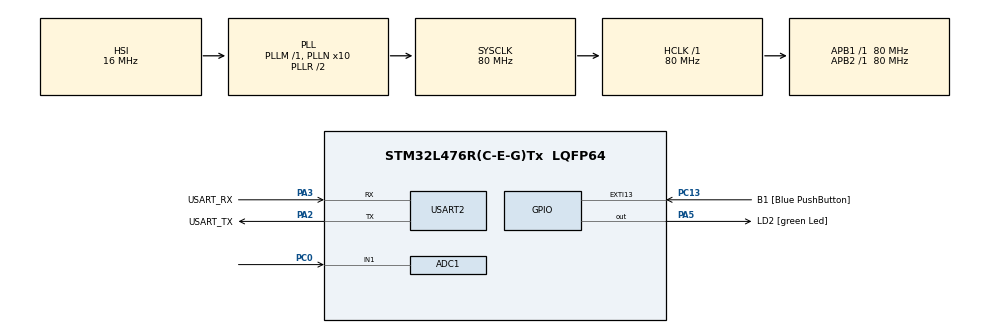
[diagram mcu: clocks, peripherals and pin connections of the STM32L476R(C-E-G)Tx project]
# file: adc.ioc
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ADC1.Channel-0\#ChannelRegularConversion=ADC_CHANNEL_1
ADC1.ClockPrescaler=ADC_CLOCK_SYNC_PCLK_DIV4
ADC1.ContinuousConvMode=ENABLE
ADC1.DMAContinuousRequests=ENABLE
ADC1.DataAlign=ADC_DATAALIGN_RIGHT
ADC1.DiscontinuousConvMode=DISABLE
ADC1.EOCSelection=ADC_EOC_SINGLE_CONV
ADC1.EnableAnalogWatchDog1=false
ADC1.EnableAnalogWatchDog2=false
ADC1.EnableAnalogWatchDog3=false
ADC1.EnableInjectedConversion=DISABLE
ADC1.EnableRegularConversion=ENABLE
ADC1.ExternalTrigConv=ADC_SOFTWARE_START
ADC1.ExternalTrigConvEdge=ADC_EXTERNALTRIGCONVEDGE_NONE
ADC1.LowPowerAutoWait=DISABLE
ADC1.NbrOfConversion=1
ADC1.NbrOfConversionFlag=1
ADC1.OffsetNumber-0\#ChannelRegularConversion=ADC_OFFSET_NONE
ADC1.Overrun=ADC_OVR_DATA_OVERWRITTEN
ADC1.OversamplingMode=DISABLE
ADC1.Rank-0\#ChannelRegularConversion=1
ADC1.Resolution=ADC_RESOLUTION_12B
ADC1.SamplingTime-0\#ChannelRegularConversion=ADC_SAMPLETIME_247CYCLES_5
ADC1.ScanConvMode=ADC_SCAN_DISABLE
ADC1.master=1
Dma.ADC1.0.Direction=DMA_PERIPH_TO_MEMORY
Dma.ADC1.0.Instance=DMA1_Channel1
Dma.ADC1.0.MemDataAlignment=DMA_MDATAALIGN_HALFWORD
Dma.ADC1.0.MemInc=DMA_MINC_ENABLE
Dma.ADC1.0.Mode=DMA_CIRCULAR
Dma.ADC1.0.PeriphDataAlignment=DMA_PDATAALIGN_HALFWORD
Dma.ADC1.0.PeriphInc=DMA_PINC_DISABLE
Dma.ADC1.0.Priority=DMA_PRIORITY_HIGH
Dma.Request0=ADC1
Mcu.Family=STM32L4
Mcu.Name=STM32L476R(C-E-G)Tx
Mcu.Package=LQFP64
NVIC.DMA1_Channel1_IRQn=true\:0\:0\:false\:false\:true\:false
NVIC.PriorityGroup=NVIC_PRIORITYGROUP_4
PA13\ (JTMS-SWDIO).GPIO_Label=TMS
PA13\ (JTMS-SWDIO).Mode=Serial_Wire
PA13\ (JTMS-SWDIO).Signal=SYS_JTMS-SWDIO
PA14\ (JTCK-SWCLK).GPIO_Label=TCK
PA14\ (JTCK-SWCLK).Mode=Serial_Wire
PA14\ (JTCK-SWCLK).Signal=SYS_JTCK-SWCLK
PA2.GPIO_Label=USART_TX
PA2.GPIO_Mode=GPIO_MODE_AF_PP
PA2.GPIO_PuPd=GPIO_NOPULL
PA2.GPIO_Speed=GPIO_SPEED_FREQ_VERY_HIGH
PA2.Mode=Asynchronous
PA2.Signal=USART2_TX
PA3.GPIO_Label=USART_RX
PA3.GPIO_Mode=GPIO_MODE_AF_PP
PA3.GPIO_PuPd=GPIO_NOPULL
PA3.GPIO_Speed=GPIO_SPEED_FREQ_VERY_HIGH
PA3.Mode=Asynchronous
PA3.Signal=USART2_RX
PA5.GPIO_Label=LD2 [green Led]
PA5.GPIO_ModeDefaultOutputPP=GPIO_MODE_OUTPUT_PP
PA5.GPIO_PuPd=GPIO_NOPULL
PA5.GPIO_Speed=GPIO_SPEED_FREQ_LOW
PA5.Signal=GPIO_Output
PB3\ (JTDO-TRACESWO).GPIO_Label=SWO
PB3\ (JTDO-TRACESWO).Signal=SYS_JTDO-SWO
PC0.GPIO_PuPd=GPIO_NOPULL
PC0.Signal=ADCx_IN1
PC13.GPIO_Label=B1 [Blue PushButton]
PC13.GPIO_ModeDefaultEXTI=GPIO_MODE_IT_FALLING
PC13.GPIO_PuPd=GPIO_NOPULL
PC13.Signal=GPXTI13
PC14-OSC32_IN\ (PC14).Mode=LSE-External-Oscillator
PC14-OSC32_IN\ (PC14).Signal=RCC_OSC32_IN
PC15-OSC32_OUT\ (PC15).Mode=LSE-External-Oscillator
PC15-OSC32_OUT\ (PC15).Signal=RCC_OSC32_OUT
PH0-OSC_IN\ (PH0).Signal=RCC_OSC_IN
PH1-OSC_OUT\ (PH1).Signal=RCC_OSC_OUT
ProjectManager.HeapSize=0x200
ProjectManager.StackSize=0x400
ProjectManager.TargetToolchain=TrueSTUDIO
RCC.ADCFreq_Value=64000000
RCC.AHBFreq_Value=80000000
RCC.APB1Freq_Value=80000000
RCC.APB1TimFreq_Value=80000000
RCC.APB2Freq_Value=80000000
RCC.APB2TimFreq_Value=80000000
RCC.CortexFreq_Value=80000000
RCC.HCLKFreq_Value=80000000
RCC.HSE_VALUE=8000000
RCC.HSI_VALUE=16000000
RCC.MSI_VALUE=4000000
RCC.PLLN=10
RCC.PLLSourceVirtual=RCC_PLLSOURCE_HSI
RCC.PREFETCH_ENABLE=1
RCC.SYSCLKFreq_VALUE=80000000
RCC.SYSCLKSource=RCC_SYSCLKSOURCE_PLLCLK
RCC.USBFreq_Value=64000000
RCC.VCOOutputFreq_Value=160000000
SH.ADCx_IN1.0=ADC1_IN1,IN1-Single-Ended
USART2.VirtualMode-Asynchronous=VM_ASYNC
board=NUCLEO-L476RG

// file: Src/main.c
/**
  ******************************************************************************
  * @file           : main.c
  * @brief          : Main program body
  ******************************************************************************
  ** This notice applies to any and all portions of this file
  * that are not between comment pairs USER CODE BEGIN and
  * USER CODE END. Other portions of this file, whether
  * inserted by the user or by software development tools
  * are owned by their respective copyright owners.
  *
  * COPYRIGHT(c) 2018 STMicroelectronics
  *
  * Redistribution and use in source and binary forms, with or without modification,
  * are permitted provided that the following conditions are met:
  *   1. Redistributions of source code must retain the above copyright notice,
  *      this list of conditions and the following disclaimer.
  *   2. Redistributions in binary form must reproduce the above copyright notice,
  *      this list of conditions and the following disclaimer in the documentation
  *      and/or other materials provided with the distribution.
  *   3. Neither the name of STMicroelectronics nor the names of its contributors
  *      may be used to endorse or promote products derived from this software
  *      without specific prior written permission.
  *
  * THIS SOFTWARE IS PROVIDED BY THE COPYRIGHT HOLDERS AND CONTRIBUTORS "AS IS"
  * AND ANY EXPRESS OR IMPLIED WARRANTIES, INCLUDING, BUT NOT LIMITED TO, THE
  * IMPLIED WARRANTIES OF MERCHANTABILITY AND FITNESS FOR A PARTICULAR PURPOSE ARE
  * DISCLAIMED. IN NO EVENT SHALL THE COPYRIGHT HOLDER OR CONTRIBUTORS BE LIABLE
  * FOR ANY DIRECT, INDIRECT, INCIDENTAL, SPECIAL, EXEMPLARY, OR CONSEQUENTIAL
  * DAMAGES (INCLUDING, BUT NOT LIMITED TO, PROCUREMENT OF SUBSTITUTE GOODS OR
  * SERVICES; LOSS OF USE, DATA, OR PROFITS; OR BUSINESS INTERRUPTION) HOWEVER
  * CAUSED AND ON ANY THEORY OF LIABILITY, WHETHER IN CONTRACT, STRICT LIABILITY,
  * OR TORT (INCLUDING NEGLIGENCE OR OTHERWISE) ARISING IN ANY WAY OUT OF THE USE
  * OF THIS SOFTWARE, EVEN IF ADVISED OF THE POSSIBILITY OF SUCH DAMAGE.
  *
  ******************************************************************************
  */
#include "main.h"
#include "stm32l4xx_hal.h"
#include "adc.h"
#include "dma.h"
#include "usart.h"
#include "gpio.h"

/* USER CODE BEGIN Includes */
#include "stdio.h"
#include "stdbool.h"
/* USER CODE END Includes */

/* USER CODE BEGIN PV */
/* Private variables ---------------------------------------------------------*/
volatile uint16_t buf[1024] = {0};
volatile bool adc_cplt = false;
/* USER CODE END PV */

void SystemClock_Config(void);

/* USER CODE BEGIN PFP */
/* Private function prototypes -----------------------------------------------*/

/* USER CODE END PFP */

int main(void)
{

  /* MCU Configuration----------------------------------------------------------*/

  /* Reset of all peripherals, Initializes the Flash interface and the Systick. */
  HAL_Init();

  /* Configure the system clock */
  SystemClock_Config();

  /* Initialize all configured peripherals */
  MX_GPIO_Init();
  MX_DMA_Init();
  MX_USART2_UART_Init();
  MX_ADC1_Init();
  /* USER CODE BEGIN 2 */

  if (HAL_ADC_Start_DMA(&hadc1, (uint32_t *)buf, 1024) != HAL_OK) {
    Error_Handler();
  }

  /* USER CODE END 2 */

  /* Infinite loop */
  /* USER CODE BEGIN WHILE */
  while (1)
  {
    /* In case of polling mode
    if (HAL_ADC_PollForConversion(&hadc1, 10) == HAL_OK) {
      uint32_t v = HAL_ADC_GetValue(&hadc1);
      printf("%lu\n", v);
    }
    */
    if (adc_cplt) {
      printf("-\n");
      printf("%u @ %lu\n", buf[0], HAL_GetTick());
      adc_cplt = false;
    }

  /* USER CODE END WHILE */

  }

}

void SystemClock_Config(void)
{

  RCC_OscInitTypeDef RCC_OscInitStruct;
  RCC_ClkInitTypeDef RCC_ClkInitStruct;
  RCC_PeriphCLKInitTypeDef PeriphClkInit;

    /**Initializes the CPU, AHB and APB busses clocks
    */
  RCC_OscInitStruct.OscillatorType = RCC_OSCILLATORTYPE_HSI;
  RCC_OscInitStruct.HSIState = RCC_HSI_ON;
  RCC_OscInitStruct.HSICalibrationValue = 16;
  RCC_OscInitStruct.PLL.PLLState = RCC_PLL_ON;
  RCC_OscInitStruct.PLL.PLLSource = RCC_PLLSOURCE_HSI;
  RCC_OscInitStruct.PLL.PLLM = 1;
  RCC_OscInitStruct.PLL.PLLN = 10;
  RCC_OscInitStruct.PLL.PLLP = RCC_PLLP_DIV7;
  RCC_OscInitStruct.PLL.PLLQ = RCC_PLLQ_DIV2;
  RCC_OscInitStruct.PLL.PLLR = RCC_PLLR_DIV2;
  if (HAL_RCC_OscConfig(&RCC_OscInitStruct) != HAL_OK)
  {
    _Error_Handler(__FILE__, __LINE__);
  }

    /**Initializes the CPU, AHB and APB busses clocks
    */
  RCC_ClkInitStruct.ClockType = RCC_CLOCKTYPE_HCLK|RCC_CLOCKTYPE_SYSCLK
                              |RCC_CLOCKTYPE_PCLK1|RCC_CLOCKTYPE_PCLK2;
  RCC_ClkInitStruct.SYSCLKSource = RCC_SYSCLKSOURCE_PLLCLK;
  RCC_ClkInitStruct.AHBCLKDivider = RCC_SYSCLK_DIV1;
  RCC_ClkInitStruct.APB1CLKDivider = RCC_HCLK_DIV1;
  RCC_ClkInitStruct.APB2CLKDivider = RCC_HCLK_DIV1;

  if (HAL_RCC_ClockConfig(&RCC_ClkInitStruct, FLASH_LATENCY_4) != HAL_OK)
  {
    _Error_Handler(__FILE__, __LINE__);
  }

  PeriphClkInit.PeriphClockSelection = RCC_PERIPHCLK_USART2;
  PeriphClkInit.Usart2ClockSelection = RCC_USART2CLKSOURCE_PCLK1;
  if (HAL_RCCEx_PeriphCLKConfig(&PeriphClkInit) != HAL_OK)
  {
    _Error_Handler(__FILE__, __LINE__);
  }

    /**Configure the main internal regulator output voltage
    */
  if (HAL_PWREx_ControlVoltageScaling(PWR_REGULATOR_VOLTAGE_SCALE1) != HAL_OK)
  {
    _Error_Handler(__FILE__, __LINE__);
  }

    /**Configure the Systick interrupt time
    */
  HAL_SYSTICK_Config(HAL_RCC_GetHCLKFreq()/1000);

    /**Configure the Systick
    */
  HAL_SYSTICK_CLKSourceConfig(SYSTICK_CLKSOURCE_HCLK);

  /* SysTick_IRQn interrupt configuration */
  HAL_NVIC_SetPriority(SysTick_IRQn, 0, 0);
}

/* USER CODE BEGIN 4 */

/**
  * @brief  Conversion complete callback in non-blocking mode.
  * @param hadc ADC handle
  * @retval None
  */
void HAL_ADC_ConvCpltCallback(ADC_HandleTypeDef* hadc) {
  if (hadc == &hadc1) {
    adc_cplt = true;
  }
}

/**
 * @brief  Retargets the C library printf function to the USART.
 * @param  None
 * @retval None
 */
int _write(int file, char *ptr, int len) {
  HAL_UART_Transmit(&huart2, (uint8_t *) ptr, (uint16_t) len, 0xFFFFFFFF);
  return len;
}

/* USER CODE END 4 */

void _Error_Handler(char *file, int line)
{
  while(1)
  {
  }
}

/************************ (C) COPYRIGHT STMicroelectronics *****END OF FILE****/
